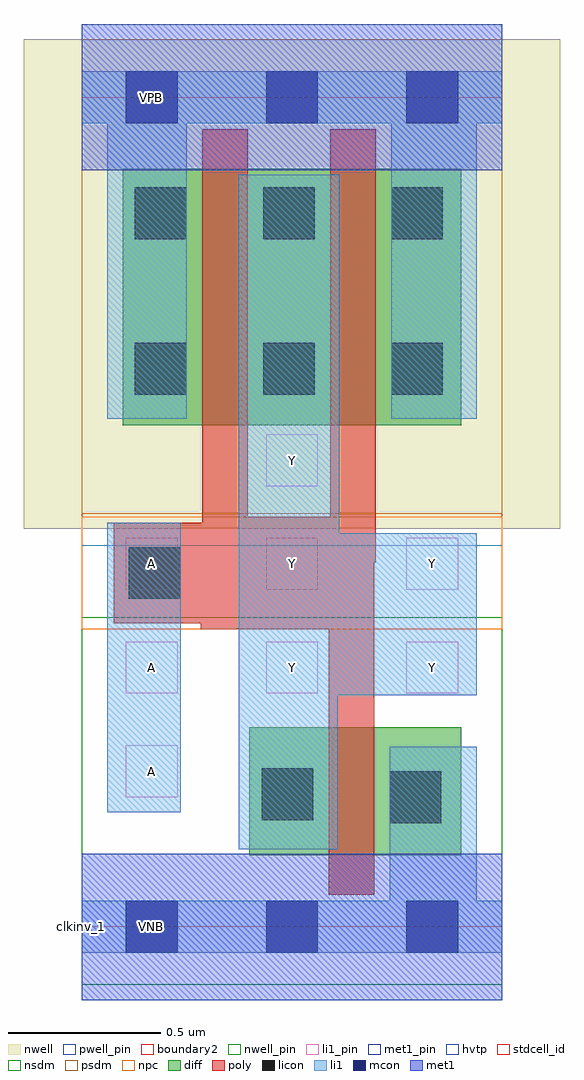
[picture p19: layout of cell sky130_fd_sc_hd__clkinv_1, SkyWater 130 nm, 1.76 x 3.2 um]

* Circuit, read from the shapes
.subckt sky130_fd_sc_hd__clkinv_1 A VGND VNB VPB VPWR Y
XM1 VGND A Y VNB sky130_fd_pr__nfet_01v8 w=0.42 l=0.15
XM2 Y A VPWR VPB sky130_fd_pr__pfet_01v8_hvt w=0.84 l=0.15 m=2
.ends

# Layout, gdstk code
import gdstk
lib = gdstk.Library(unit=1e-6, precision=1e-09)
def R(c, l, rs):  # rectangles x0, y0, x1, y1
    for r in rs: c.add(gdstk.rectangle(r[:2], r[2:], *l))
def A(c, l, x, y, w, h, nx, ny, dx, dy):  # array of equal rectangles
    R(c, l, [(x+i*dx, y+j*dy, x+i*dx+w, y+j*dy+h) for i in range(nx) for j in range(ny)])
def P(c, l, *ps):  # polygons
    for p in ps: c.add(gdstk.Polygon(p, *l))
nwell_pin = (64, 16)
nwell = (64, 20)
diff = (65, 20)
poly = (66, 20)
licon = (66, 44)
li1_pin = (67, 16)
li1 = (67, 20)
mcon = (67, 44)
met1_pin = (68, 16)
met1 = (68, 20)
hvtp = (78, 44)
stdcell_id = (81, 4)
nsdm = (93, 44)
psdm = (94, 20)
npc = (95, 20)
pwell_pin = (122, 16)
boundary2 = (236, 0)

sky130_fd_sc_hd__clkinv_ = lib.new_cell('sky130_fd_sc_hd__clkinv_1')
R(sky130_fd_sc_hd__clkinv_, nwell_pin, [(0.145,2.635,0.315,2.805)])
R(sky130_fd_sc_hd__clkinv_, nwell, [(-0.19,1.305,1.57,2.91)])
R(sky130_fd_sc_hd__clkinv_, diff, [(0.55,0.235,1.245,0.655), (0.135,1.645,1.245,2.485)])
P(sky130_fd_sc_hd__clkinv_, poly, [(0.96,1.195),(0.965,1.195),(0.965,2.615),(0.815,2.615),(0.815,1.345),(0.545,1.345),(0.545,2.615),(0.395,2.615),(0.395,1.325),(0.105,1.325),(0.105,0.995),(0.39,0.995),(0.39,0.975),(0.81,0.975),(0.81,0.105),(0.96,0.105)])
A(sky130_fd_sc_hd__clkinv_, licon, 0.175, 1.745, 0.17, 0.17, 3, 2, 0.42, 0.51)
R(sky130_fd_sc_hd__clkinv_, licon, [(1.01,0.34,1.18,0.51), (0.59,0.35,0.76,0.52), (0.155,1.075,0.325,1.245)])
A(sky130_fd_sc_hd__clkinv_, li1_pin, 0.145, 0.765, 0.17, 0.17, 3, 2, 0.46, 0.34)
R(sky130_fd_sc_hd__clkinv_, li1_pin, [(0.145,0.425,0.315,0.595), (0.605,1.445,0.775,1.615)])
R(sky130_fd_sc_hd__clkinv_, li1, [(0.085,0.375,0.325,1.325)])
P(sky130_fd_sc_hd__clkinv_, li1, [(1.38,0.085),(1.295,0.085),(1.295,0.59),(1.01,0.59),(1.01,0.085),(0,0.085),(0,-0.085),(1.38,-0.085)],
  [(1.38,2.805),(0,2.805),(0,2.635),(0.085,2.635),(0.085,1.665),(0.345,1.665),(0.345,2.635),(1.015,2.635),(1.015,1.665),(1.295,1.665),(1.295,2.635),(1.38,2.635)],
  [(1.295,1.29),(0.845,1.29),(0.845,2.465),(0.515,2.465),(0.515,0.255),(0.84,0.255),(0.84,0.76),(1.295,0.76)])
A(sky130_fd_sc_hd__clkinv_, mcon, 0.145, -0.085, 0.17, 0.17, 3, 2, 0.46, 2.72)
R(sky130_fd_sc_hd__clkinv_, met1_pin, [(0.145,-0.085,0.315,0.085), (0.145,2.635,0.315,2.805)])
R(sky130_fd_sc_hd__clkinv_, hvtp, [(0,1.25,1.38,2.72)])
R(sky130_fd_sc_hd__clkinv_, stdcell_id, [(0,0,1.38,2.72)])
R(sky130_fd_sc_hd__clkinv_, nsdm, [(0,-0.19,1.38,1.015)])
R(sky130_fd_sc_hd__clkinv_, psdm, [(0,1.355,1.38,2.91)])
R(sky130_fd_sc_hd__clkinv_, npc, [(0,0.975,1.38,1.345)])
R(sky130_fd_sc_hd__clkinv_, pwell_pin, [(0.145,-0.085,0.315,0.085)])
R(sky130_fd_sc_hd__clkinv_, boundary2, [(0,0,1.38,2.72)])
sky130_fd_sc_hd__clkinv_.add(gdstk.FlexPath([(0,2.72),(1.38,2.72)], 0.48, ends="flush", simple_path=True, layer=68, datatype=20))  # met1
sky130_fd_sc_hd__clkinv_.add(gdstk.FlexPath([(0,0),(1.38,0)], 0.48, ends="flush", simple_path=True, layer=68, datatype=20))  # met1
sky130_fd_sc_hd__clkinv_.add(gdstk.Label('Y', (1.15,0.85), layer=67, texttype=5))
sky130_fd_sc_hd__clkinv_.add(gdstk.Label('Y', (1.15,1.19), layer=67, texttype=5))
sky130_fd_sc_hd__clkinv_.add(gdstk.Label('Y', (0.69,1.53), layer=67, texttype=5))
sky130_fd_sc_hd__clkinv_.add(gdstk.Label('Y', (0.69,1.19), layer=67, texttype=5))
sky130_fd_sc_hd__clkinv_.add(gdstk.Label('Y', (0.69,0.85), layer=67, texttype=5))
sky130_fd_sc_hd__clkinv_.add(gdstk.Label('A', (0.23,0.51), layer=67, texttype=5))
sky130_fd_sc_hd__clkinv_.add(gdstk.Label('A', (0.23,0.85), layer=67, texttype=5))
sky130_fd_sc_hd__clkinv_.add(gdstk.Label('A', (0.23,1.19), layer=67, texttype=5))
sky130_fd_sc_hd__clkinv_.add(gdstk.Label('VPB', (0.23,2.72), layer=64, texttype=5))
sky130_fd_sc_hd__clkinv_.add(gdstk.Label('VNB', (0.23,0), layer=64, texttype=59))
sky130_fd_sc_hd__clkinv_.add(gdstk.Label('VGND', (0.23,0), layer=68, texttype=5))
sky130_fd_sc_hd__clkinv_.add(gdstk.Label('VPWR', (0.23,2.72), layer=68, texttype=5))
sky130_fd_sc_hd__clkinv_.add(gdstk.Label('clkinv_1', (0,0), layer=83, texttype=44))

lib.write_gds('sky130_fd_sc_hd__clkinv_1.gds')
